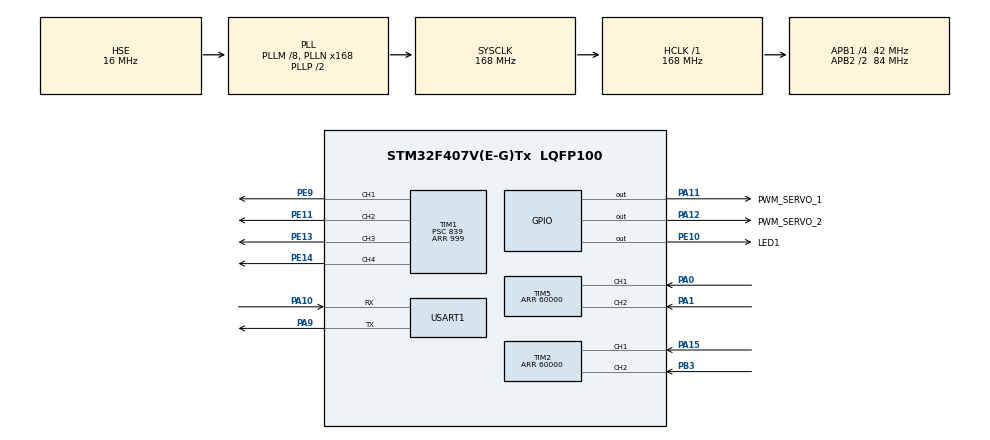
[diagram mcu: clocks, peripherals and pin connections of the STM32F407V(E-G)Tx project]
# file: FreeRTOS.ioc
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FREERTOS.MemoryAllocation=FREERTOS_DYNAMIC_ALLOC
FREERTOS.Tasks01=defaultTask,24,512,StartDefaultTask,Default,NULL,Dynamic,NULL,NULL;LED_Task,8,128,LED_Task_entry,As weak,NULL,Static,LED_TaskBuffer,LED_TaskControlBlock
FREERTOS.TotalHeapSize=30720
FREERTOS.configTOTAL_HEAP_SIZE=30720
Mcu.Family=STM32F4
Mcu.Name=STM32F407V(E-G)Tx
Mcu.Package=LQFP100
NVIC.PriorityGroup=NVIC_PRIORITYGROUP_4
NVIC.TIM2_IRQn=true\:6\:0\:true\:false\:true\:true\:true\:true\:true
NVIC.TIM5_IRQn=true\:6\:0\:true\:false\:true\:true\:true\:true\:true
NVIC.TIM7_IRQn=true\:6\:0\:true\:false\:true\:true\:true\:true\:true
NVIC.TIM8_TRG_COM_TIM14_IRQn=true\:15\:0\:false\:false\:true\:false\:false\:true\:true
NVIC.TIM8_UP_TIM13_IRQn=true\:6\:0\:true\:false\:true\:true\:true\:true\:true
NVIC.TimeBase=TIM8_TRG_COM_TIM14_IRQn
NVIC.TimeBaseIP=TIM14
NVIC.USART1_IRQn=true\:6\:0\:true\:false\:true\:true\:true\:true\:true
PA0-WKUP.GPIO_PuPd=GPIO_PULLUP
PA0-WKUP.GPIO_Speed=GPIO_SPEED_FREQ_VERY_HIGH
PA0-WKUP.Signal=S_TIM5_CH1
PA1.GPIO_PuPd=GPIO_PULLUP
PA1.GPIO_Speed=GPIO_SPEED_FREQ_VERY_HIGH
PA1.Signal=S_TIM5_CH2
PA10.Mode=Asynchronous
PA10.Signal=USART1_RX
PA11.GPIO_Label=PWM_SERVO_1
PA11.GPIO_Speed=GPIO_SPEED_FREQ_HIGH
PA11.Signal=GPIO_Output
PA12.GPIO_Label=PWM_SERVO_2
PA12.GPIO_Speed=GPIO_SPEED_FREQ_HIGH
PA12.Signal=GPIO_Output
PA13.Mode=Serial_Wire
PA13.Signal=SYS_JTMS-SWDIO
PA14.Mode=Serial_Wire
PA14.Signal=SYS_JTCK-SWCLK
PA15.GPIO_PuPd=GPIO_PULLUP
PA15.GPIO_Speed=GPIO_SPEED_FREQ_VERY_HIGH
PA15.Signal=S_TIM2_CH1_ETR
PA9.Mode=Asynchronous
PA9.Signal=USART1_TX
PB3.GPIO_PuPd=GPIO_PULLUP
PB3.GPIO_Speed=GPIO_SPEED_FREQ_VERY_HIGH
PB3.Signal=S_TIM2_CH2
PE10.GPIO_Label=LED1
PE10.GPIO_PuPd=GPIO_PULLUP
PE10.PinState=GPIO_PIN_SET
PE10.Signal=GPIO_Output
PE11.GPIO_Speed=GPIO_SPEED_FREQ_HIGH
PE11.Signal=S_TIM1_CH2
PE13.GPIO_Speed=GPIO_SPEED_FREQ_HIGH
PE13.Signal=S_TIM1_CH3
PE14.GPIO_Speed=GPIO_SPEED_FREQ_HIGH
PE14.Signal=S_TIM1_CH4
PE9.GPIO_Speed=GPIO_SPEED_FREQ_HIGH
PE9.Signal=S_TIM1_CH1
PH0-OSC_IN.Mode=HSE-External-Oscillator
PH0-OSC_IN.Signal=RCC_OSC_IN
PH1-OSC_OUT.Mode=HSE-External-Oscillator
PH1-OSC_OUT.Signal=RCC_OSC_OUT
ProjectManager.HeapSize=0x200
ProjectManager.StackSize=0x400
ProjectManager.TargetToolchain=MDK-ARM V5
RCC.48MHZClocksFreq_Value=84000000
RCC.AHBFreq_Value=168000000
RCC.APB1CLKDivider=RCC_HCLK_DIV4
RCC.APB1Freq_Value=42000000
RCC.APB1TimFreq_Value=84000000
RCC.APB2CLKDivider=RCC_HCLK_DIV2
RCC.APB2Freq_Value=84000000
RCC.APB2TimFreq_Value=168000000
RCC.CortexFreq_Value=168000000
RCC.EXTERNAL_CLOCK_VALUE=12288000
RCC.EnbaleCSS=true
RCC.HCLKFreq_Value=168000000
RCC.HSE_VALUE=16000000
RCC.HSI_VALUE=16000000
RCC.LSE_VALUE=32768
RCC.PLLM=8
RCC.PLLN=168
RCC.PLLSourceVirtual=RCC_PLLSOURCE_HSE
RCC.SYSCLKFreq_VALUE=168000000
RCC.SYSCLKSource=RCC_SYSCLKSOURCE_PLLCLK
RCC.VCOOutputFreq_Value=336000000
SH.S_TIM1_CH1.0=TIM1_CH1,PWM Generation1 CH1
SH.S_TIM1_CH2.0=TIM1_CH2,PWM Generation2 CH2
SH.S_TIM1_CH3.0=TIM1_CH3,PWM Generation3 CH3
SH.S_TIM1_CH4.0=TIM1_CH4,PWM Generation4 CH4
SH.S_TIM2_CH1_ETR.0=TIM2_CH1,Encoder_Interface
SH.S_TIM2_CH2.0=TIM2_CH2,Encoder_Interface
SH.S_TIM5_CH1.0=TIM5_CH1,Encoder_Interface
SH.S_TIM5_CH2.0=TIM5_CH2,Encoder_Interface
TIM1.AutoReloadPreload=TIM_AUTORELOAD_PRELOAD_ENABLE
TIM1.Channel-PWM\ Generation1\ CH1=TIM_CHANNEL_1
TIM1.Channel-PWM\ Generation2\ CH2=TIM_CHANNEL_2
TIM1.Channel-PWM\ Generation3\ CH3=TIM_CHANNEL_3
TIM1.Channel-PWM\ Generation4\ CH4=TIM_CHANNEL_4
TIM1.OCFastMode_PWM-PWM\ Generation1\ CH1=TIM_OCFAST_ENABLE
TIM1.OCFastMode_PWM-PWM\ Generation2\ CH2=TIM_OCFAST_ENABLE
TIM1.OCFastMode_PWM-PWM\ Generation3\ CH3=TIM_OCFAST_ENABLE
TIM1.OCFastMode_PWM-PWM\ Generation4\ CH4=TIM_OCFAST_ENABLE
TIM1.Period=999
TIM1.Prescaler=839
TIM13.AutoReloadPreload=TIM_AUTORELOAD_PRELOAD_DISABLE
TIM13.Period=839
TIM13.Prescaler=0
TIM2.AutoReloadPreload=TIM_AUTORELOAD_PRELOAD_ENABLE
TIM2.EncoderMode=TIM_ENCODERMODE_TI12
TIM2.Period=60000
TIM5.AutoReloadPreload=TIM_AUTORELOAD_PRELOAD_ENABLE
TIM5.EncoderMode=TIM_ENCODERMODE_TI12
TIM5.Period=60000
TIM7.AutoReloadPreload=TIM_AUTORELOAD_PRELOAD_ENABLE
TIM7.Period=9999
TIM7.Prescaler=83
USART1.VirtualMode=VM_ASYNC
VP_FREERTOS_VS_CMSIS_V2.Mode=CMSIS_V2
VP_SYS_VS_tim14.Mode=TIM14
VP_TIM13_VS_ClockSourceINT.Mode=Enable_Timer
VP_TIM1_VS_ClockSourceINT.Mode=Internal
VP_TIM7_VS_ClockSourceINT.Mode=Enable_Timer
board=custom

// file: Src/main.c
/* USER CODE BEGIN Header */
/**
  ******************************************************************************
  * @file           : main.c
  * @brief          : Main program body
  ******************************************************************************
  * @attention
  *
  * Copyright (c) 2023 STMicroelectronics.
  * All rights reserved.
  *
  * This software is licensed under terms that can be found in the LICENSE file
  * in the root directory of this software component.
  * If no LICENSE file comes with this software, it is provided AS-IS.
  *
  ******************************************************************************
  */
/* USER CODE END Header */
#include "main.h"
#include "cmsis_os.h"

/* USER CODE BEGIN Includes */
#include <stdio.h>
#include <string.h>
#include <stdlib.h>
#include <stdarg.h>
/* USER CODE END Includes */

typedef StaticTask_t osStaticThreadDef_t;

TIM_HandleTypeDef htim1;
TIM_HandleTypeDef htim2;
TIM_HandleTypeDef htim5;
TIM_HandleTypeDef htim7;
TIM_HandleTypeDef htim13;

UART_HandleTypeDef huart1;

/* Definitions for defaultTask */
osThreadId_t defaultTaskHandle;
const osThreadAttr_t defaultTask_attributes = {
  .name = "defaultTask",
  .stack_size = 512 * 4,
  .priority = (osPriority_t) osPriorityNormal,
};
/* Definitions for LED_Task */
osThreadId_t LED_TaskHandle;
uint32_t LED_TaskBuffer[ 128 ];
osStaticThreadDef_t LED_TaskControlBlock;
const osThreadAttr_t LED_Task_attributes = {
  .name = "LED_Task",
  .cb_mem = &LED_TaskControlBlock,
  .cb_size = sizeof(LED_TaskControlBlock),
  .stack_mem = &LED_TaskBuffer[0],
  .stack_size = sizeof(LED_TaskBuffer),
  .priority = (osPriority_t) osPriorityLow,
};

void SystemClock_Config(void);
static void MX_GPIO_Init(void);
static void MX_TIM1_Init(void);
static void MX_TIM2_Init(void);
static void MX_TIM5_Init(void);
static void MX_TIM7_Init(void);
static void MX_TIM13_Init(void);
static void MX_USART1_UART_Init(void);
void StartDefaultTask(void *argument);
void LED_Task_entry(void *argument);

/* USER CODE BEGIN 0 */

/* ===== 舵机软件PWM全局变量 ===== */
static volatile uint16_t servo_pulse[2] = {150, 150};  /* 舵机1/2 高电平脉宽(单位10μs), 默认90° */
static volatile uint16_t servo_tick = 0;               /* TIM13中断计数器 */

/* ===== 编码器速度变量 ===== */
static volatile int32_t encoder1_speed = 0;  /* 丝印M1速度(TIM5 PA0/PA1) */
static volatile int32_t encoder2_speed = 0;  /* 丝印M2速度(TIM2 PA15/PB3) */
static volatile int32_t encoder1_last = 0;   /* 上次计数值 */
static volatile int32_t encoder2_last = 0;

/* ===== 增量式PID结构体 ===== */
typedef struct {
  float  kp;           /* 比例系数 */
  float  ki;           /* 积分系数 */
  float  kd;           /* 微分系数 */
  float  target;       /* 目标速度(脉冲/10ms) */
  float  err;          /* 当前误差 */
  float  err_last;     /* 上次误差 */
  float  err_sum;      /* 误差积分 */
  float  out;          /* PID输出(PWM值) */
  float  out_max;      /* 输出上限 */
  float  i_limit;      /* 积分限幅 */
  float  deadband;     /* 死区: |error|小于此值时忽略, 防振荡 */
  float  ramp;         /* 输出变化率限制(每周期最大增量, 0=不限) */
  uint8_t enabled;     /* 1=PID使能, 0=开环模式 */
} PID_t;

static void uart_printf(const char *fmt, ...);

static void PID_Reset(PID_t *pid)
{
  pid->err_sum  = 0.0f;
  pid->err_last = 0.0f;
  pid->err      = 0.0f;
}

static void PID_Report(uint8_t id, PID_t *pid)
{
  uart_printf("PID%d: kp=%.3f ki=%.3f kd=%.3f target=%.1f out=%.1f "
              "omax=%.0f ilim=%.0f db=%.1f ramp=%.1f en=%d\r\n",
              id, (double)pid->kp, (double)pid->ki, (double)pid->kd,
              (double)pid->target, (double)pid->out,
              (double)pid->out_max, (double)pid->i_limit,
              (double)pid->deadband, (double)pid->ramp, pid->enabled);
}

/* 两个电机的PID实例 */
static PID_t pid1 = {
  .kp = 8.0f, .ki = 1.5f, .kd = 1.0f,
  .out_max = 999.0f, .i_limit = 300.0f,
  .deadband = 0.0f, .ramp = 0.0f,
  .enabled = 0
};
static PID_t pid2 = {
  .kp = 8.0f, .ki = 1.5f, .kd = 1.0f,
  .out_max = 999.0f, .i_limit = 300.0f,
  .deadband = 0.0f, .ramp = 0.0f,
  .enabled = 0
};

/* ===== 增量式PID计算 ===== */
/* 每10ms在TIM7中断里调用一次, actual为编码器测速值 */
static float PID_Calc(PID_t *pid, float actual)
{
  if (!pid->enabled) return pid->out;

  pid->err = pid->target - actual;

  /* 死区: 忽略小误差, 防止负载下震荡 */
  if (pid->deadband > 0.0f)
  {
    if (pid->err > -pid->deadband && pid->err < pid->deadband)
      pid->err = 0.0f;
  }

  /* 积分抗饱和: 仅在误差较显著时累加; 积分限幅 */
  if (pid->err > 0.001f || pid->err < -0.001f)
    pid->err_sum += pid->err;
  if (pid->err_sum >  pid->i_limit) pid->err_sum =  pid->i_limit;
  if (pid->err_sum < -pid->i_limit) pid->err_sum = -pid->i_limit;

  /* PID输出 */
  float output = pid->kp * pid->err
               + pid->ki * pid->err_sum
               + pid->kd * (pid->err - pid->err_last);

  /* 输出变化率限制(防突变, 保护驱动和机械) */
  if (pid->ramp > 0.0f)
  {
    float delta = output - pid->out;
    if (delta >  pid->ramp) output = pid->out + pid->ramp;
    if (delta < -pid->ramp) output = pid->out - pid->ramp;
  }

  /* 输出限幅 */
  if (output >  pid->out_max) output =  pid->out_max;
  if (output < -pid->out_max) output = -pid->out_max;

  pid->err_last = pid->err;
  pid->out = output;
  return output;
}

/* ===== 设置PID目标速度(带符号, 正/负代表方向) ===== */
static void PID_SetTarget(PID_t *pid, float target)
{
  pid->target  = target;
  pid->err     = 0.0f;
  pid->err_last = 0.0f;
  pid->err_sum  = 0.0f;
  pid->out      = 0.0f;
  pid->enabled  = (target != 0.0f) ? 1 : 0;
}

/* ===== 串口接收缓冲 ===== */
static uint8_t uart_rx_byte = 0;

/* ===== 轻量串口格式化输出（替代 printf，避免栈溢出） ===== */
static void uart_printf(const char *fmt, ...)
{
  char buf[80];
  va_list ap;
  va_start(ap, fmt);
  vsnprintf(buf, sizeof(buf), fmt, ap);
  va_end(ap);
  HAL_UART_Transmit(&huart1, (uint8_t *)buf, strlen(buf), HAL_MAX_DELAY);
}

/* ===== 舵机控制 ===== */
void Servo_SetAngle(uint8_t servo_id, float angle)
{
  if (servo_id > 1) return;
  if (angle < 0) angle = 0;
  if (angle > 180) angle = 180;
  /* 角度 → 脉宽: 0°=50, 180°=250, 线性映射 */
  servo_pulse[servo_id] = (uint16_t)(SERVO_PULSE_MIN + (angle / 180.0f) * (SERVO_PULSE_MAX - SERVO_PULSE_MIN));
}

/* ===== 电机控制 ===== */
void Motor_SetSpeed(uint8_t motor_id, int16_t speed)
{
  if (speed > MOTOR_PWM_MAX) speed = MOTOR_PWM_MAX;
  if (speed < -MOTOR_PWM_MAX) speed = -MOTOR_PWM_MAX;

  if (motor_id == 0)  /* 电机1(丝印M1): CH3正转, CH4反转, PE13/PE14 */
  {
    if (speed >= 0)
    {
      __HAL_TIM_SET_COMPARE(&htim1, TIM_CHANNEL_3, (uint32_t)speed);
      __HAL_TIM_SET_COMPARE(&htim1, TIM_CHANNEL_4, 0);
    }
    else
    {
      __HAL_TIM_SET_COMPARE(&htim1, TIM_CHANNEL_3, 0);
      __HAL_TIM_SET_COMPARE(&htim1, TIM_CHANNEL_4, (uint32_t)(-speed));
    }
  }
  else if (motor_id == 1)  /* 电机2(丝印M2): CH2正转, CH1反转, PE11/PE9 (右轮方向已校准) */
  {
    if (speed >= 0)
    {
      __HAL_TIM_SET_COMPARE(&htim1, TIM_CHANNEL_2, (uint32_t)speed);
      __HAL_TIM_SET_COMPARE(&htim1, TIM_CHANNEL_1, 0);
    }
    else
    {
      __HAL_TIM_SET_COMPARE(&htim1, TIM_CHANNEL_2, 0);
      __HAL_TIM_SET_COMPARE(&htim1, TIM_CHANNEL_1, (uint32_t)(-speed));
    }
  }
}

/* ===== TIM13 软件PWM中断回调 (10μs周期, Update溢出中断) ===== */
void HAL_TIM_PeriodElapsedCallback_TIM13(TIM_HandleTypeDef *htim)
{
  if (htim->Instance != TIM13) return;

  servo_tick++;

  if (servo_tick == 1)
  {
    /* 周期开始: 拉高两个舵机 */
    HAL_GPIO_WritePin(PWM_SERVO_1_GPIO_Port, PWM_SERVO_1_Pin, GPIO_PIN_SET);
    HAL_GPIO_WritePin(PWM_SERVO_2_GPIO_Port, PWM_SERVO_2_Pin, GPIO_PIN_SET);
  }

  if (servo_tick == servo_pulse[0])
  {
    /* 舵机1脉宽到达, 拉低 */
    HAL_GPIO_WritePin(PWM_SERVO_1_GPIO_Port, PWM_SERVO_1_Pin, GPIO_PIN_RESET);
  }

  if (servo_tick == servo_pulse[1])
  {
    /* 舵机2脉宽到达, 拉低 */
    HAL_GPIO_WritePin(PWM_SERVO_2_GPIO_Port, PWM_SERVO_2_Pin, GPIO_PIN_RESET);
  }

  if (servo_tick >= SERVO_PERIOD)
  {
    /* 20ms周期结束, 重启 */
    servo_tick = 0;
  }
}

/* ===== TIM7 10ms测速中断回调 ===== */
void HAL_TIM_PeriodElapsedCallback_TIM7(TIM_HandleTypeDef *htim)
{
  if (htim->Instance != TIM7) return;

  /* 丝印M1→编码器TIM5(PA0/PA1), 丝印M2→编码器TIM2(PA15/PB3) */
  int32_t cur1 = (int32_t)__HAL_TIM_GET_COUNTER(&htim5);
  int32_t cur2 = (int32_t)__HAL_TIM_GET_COUNTER(&htim2);

  encoder1_speed = cur1 - encoder1_last;
  encoder2_speed = cur2 - encoder2_last;

  /* 处理溢出: Period=60000, 如果差值超过一半说明溢出 */
  if (encoder1_speed > 30000)  encoder1_speed -= 60001;
  if (encoder1_speed < -30000) encoder1_speed += 60001;
  if (encoder2_speed > 30000)  encoder2_speed -= 60001;
  if (encoder2_speed < -30000) encoder2_speed += 60001;

  /* 右轮(Motor2)方向校准: 取反使正速度=前进 */
  encoder2_speed = -encoder2_speed;

  encoder1_last = cur1;
  encoder2_last = cur2;

  /* ===== PID闭环控制 ===== */
  if (pid1.enabled)
  {
    float pwm1 = PID_Calc(&pid1, (float)encoder1_speed);
    Motor_SetSpeed(0, (int16_t)pwm1);
  }
  if (pid2.enabled)
  {
    float pwm2 = PID_Calc(&pid2, (float)encoder2_speed);
    Motor_SetSpeed(1, (int16_t)pwm2);
  }
}

/* USER CODE END 0 */

int main(void)
{

  /* MCU Configuration--------------------------------------------------------*/

  /* Reset of all peripherals, Initializes the Flash interface and the Systick. */
  HAL_Init();

  /* Configure the system clock */
  SystemClock_Config();

  /* Initialize all configured peripherals */
  MX_GPIO_Init();
  MX_TIM1_Init();
  MX_TIM2_Init();
  MX_TIM5_Init();
  MX_TIM7_Init();
  MX_TIM13_Init();
  MX_USART1_UART_Init();
  /* USER CODE BEGIN 2 */

  /* === 启动串口中断接收 === */
  HAL_UART_Receive_IT(&huart1, &uart_rx_byte, 1);

  /* === 启动电机 PWM === */
  HAL_TIM_PWM_Start(&htim1, TIM_CHANNEL_1);
  HAL_TIM_PWM_Start(&htim1, TIM_CHANNEL_2);
  HAL_TIM_PWM_Start(&htim1, TIM_CHANNEL_3);
  HAL_TIM_PWM_Start(&htim1, TIM_CHANNEL_4);
  __HAL_TIM_MOE_ENABLE(&htim1);  /* TIM1是高级定时器,必须使能MOE才能输出PWM */

  /* === 启动编码器 === */
  HAL_TIM_Encoder_Start(&htim2, TIM_CHANNEL_1 | TIM_CHANNEL_2);
  HAL_TIM_Encoder_Start(&htim5, TIM_CHANNEL_1 | TIM_CHANNEL_2);
  __HAL_TIM_SET_COUNTER(&htim2, 30000);
  __HAL_TIM_SET_COUNTER(&htim5, 30000);
  encoder1_last = 30000;
  encoder2_last = 30000;

  /* === 启动测速中断 (10ms) === */
  HAL_TIM_Base_Start_IT(&htim7);

  /* === 启动舵机软件PWM中断 (10μs) === */
  /* 必须在启动前重新配置 TIM13 寄存器，因为 MX_TIM13_Init 里的
   * __HAL_TIM_SET_PRESCALER / __HAL_TIM_SET_AUTORELOAD 可能被
   * HAL_TIM_Base_Start_IT 内部的 __HAL_TIM_ENABLE 覆盖回 .ioc 的值 */
  __HAL_TIM_DISABLE(&htim13);
  htim13.Instance->PSC = 0;    /* PSC=0, 84MHz 不分频 */
  htim13.Instance->ARR = 839;  /* ARR=839, 84MHz/840 = 100kHz = 10μs */
  htim13.Instance->CNT = 0;    /* 清零计数器 */
  __HAL_TIM_CLEAR_FLAG(&htim13, TIM_FLAG_UPDATE);  /* 清除挂起的更新标志 */
  HAL_TIM_Base_Start_IT(&htim13);

  /* === 舵机/电机初始化 === */
  Servo_SetAngle(0, 90.0f);
  Servo_SetAngle(1, 90.0f);
  Motor_SetSpeed(0, 0);
  Motor_SetSpeed(1, 0);

  /* USER CODE END 2 */

  /* Init scheduler */
  osKernelInitialize();

  /* Create the thread(s) */
  /* creation of defaultTask */
  defaultTaskHandle = osThreadNew(StartDefaultTask, NULL, &defaultTask_attributes);

  /* creation of LED_Task */
  LED_TaskHandle = osThreadNew(LED_Task_entry, NULL, &LED_Task_attributes);

  /* Start scheduler */
  osKernelStart();

  /* We should never get here as control is now taken by the scheduler */

  /* Infinite loop */
  while (1)
  {

  }
}

void SystemClock_Config(void)
{
  RCC_OscInitTypeDef RCC_OscInitStruct = {0};
  RCC_ClkInitTypeDef RCC_ClkInitStruct = {0};

  /** Configure the main internal regulator output voltage
  */
  __HAL_RCC_PWR_CLK_ENABLE();
  __HAL_PWR_VOLTAGESCALING_CONFIG(PWR_REGULATOR_VOLTAGE_SCALE1);

  /** Initializes the RCC Oscillators according to the specified parameters
  * in the RCC_OscInitTypeDef structure.
  */
  RCC_OscInitStruct.OscillatorType = RCC_OSCILLATORTYPE_HSE;
  RCC_OscInitStruct.HSEState = RCC_HSE_ON;
  RCC_OscInitStruct.PLL.PLLState = RCC_PLL_ON;
  RCC_OscInitStruct.PLL.PLLSource = RCC_PLLSOURCE_HSE;
  RCC_OscInitStruct.PLL.PLLM = 8;
  RCC_OscInitStruct.PLL.PLLN = 168;
  RCC_OscInitStruct.PLL.PLLP = RCC_PLLP_DIV2;
  RCC_OscInitStruct.PLL.PLLQ = 4;
  if (HAL_RCC_OscConfig(&RCC_OscInitStruct) != HAL_OK)
  {
    Error_Handler();
  }

  /** Initializes the CPU, AHB and APB buses clocks
  */
  RCC_ClkInitStruct.ClockType = RCC_CLOCKTYPE_HCLK|RCC_CLOCKTYPE_SYSCLK
                              |RCC_CLOCKTYPE_PCLK1|RCC_CLOCKTYPE_PCLK2;
  RCC_ClkInitStruct.SYSCLKSource = RCC_SYSCLKSOURCE_PLLCLK;
  RCC_ClkInitStruct.AHBCLKDivider = RCC_SYSCLK_DIV1;
  RCC_ClkInitStruct.APB1CLKDivider = RCC_HCLK_DIV4;
  RCC_ClkInitStruct.APB2CLKDivider = RCC_HCLK_DIV2;

  if (HAL_RCC_ClockConfig(&RCC_ClkInitStruct, FLASH_LATENCY_5) != HAL_OK)
  {
    Error_Handler();
  }

  /** Enables the Clock Security System
  */
  HAL_RCC_EnableCSS();
}

static void MX_TIM1_Init(void)
{

  TIM_ClockConfigTypeDef sClockSourceConfig = {0};
  TIM_MasterConfigTypeDef sMasterConfig = {0};
  TIM_OC_InitTypeDef sConfigOC = {0};
  TIM_BreakDeadTimeConfigTypeDef sBreakDeadTimeConfig = {0};

  htim1.Instance = TIM1;
  htim1.Init.Prescaler = 839;
  htim1.Init.CounterMode = TIM_COUNTERMODE_UP;
  htim1.Init.Period = 999;
  htim1.Init.ClockDivision = TIM_CLOCKDIVISION_DIV1;
  htim1.Init.RepetitionCounter = 0;
  htim1.Init.AutoReloadPreload = TIM_AUTORELOAD_PRELOAD_ENABLE;
  if (HAL_TIM_Base_Init(&htim1) != HAL_OK)
  {
    Error_Handler();
  }
  sClockSourceConfig.ClockSource = TIM_CLOCKSOURCE_INTERNAL;
  if (HAL_TIM_ConfigClockSource(&htim1, &sClockSourceConfig) != HAL_OK)
  {
    Error_Handler();
  }
  if (HAL_TIM_PWM_Init(&htim1) != HAL_OK)
  {
    Error_Handler();
  }
  sMasterConfig.MasterOutputTrigger = TIM_TRGO_RESET;
  sMasterConfig.MasterSlaveMode = TIM_MASTERSLAVEMODE_DISABLE;
  if (HAL_TIMEx_MasterConfigSynchronization(&htim1, &sMasterConfig) != HAL_OK)
  {
    Error_Handler();
  }
  sConfigOC.OCMode = TIM_OCMODE_PWM1;
  sConfigOC.Pulse = 0;
  sConfigOC.OCPolarity = TIM_OCPOLARITY_HIGH;
  sConfigOC.OCNPolarity = TIM_OCNPOLARITY_HIGH;
  sConfigOC.OCFastMode = TIM_OCFAST_ENABLE;
  sConfigOC.OCIdleState = TIM_OCIDLESTATE_RESET;
  sConfigOC.OCNIdleState = TIM_OCNIDLESTATE_RESET;
  if (HAL_TIM_PWM_ConfigChannel(&htim1, &sConfigOC, TIM_CHANNEL_1) != HAL_OK)
  {
    Error_Handler();
  }
  if (HAL_TIM_PWM_ConfigChannel(&htim1, &sConfigOC, TIM_CHANNEL_2) != HAL_OK)
  {
    Error_Handler();
  }
  if (HAL_TIM_PWM_ConfigChannel(&htim1, &sConfigOC, TIM_CHANNEL_3) != HAL_OK)
  {
    Error_Handler();
  }
  if (HAL_TIM_PWM_ConfigChannel(&htim1, &sConfigOC, TIM_CHANNEL_4) != HAL_OK)
  {
    Error_Handler();
  }
  sBreakDeadTimeConfig.OffStateRunMode = TIM_OSSR_DISABLE;
  sBreakDeadTimeConfig.OffStateIDLEMode = TIM_OSSI_DISABLE;
  sBreakDeadTimeConfig.LockLevel = TIM_LOCKLEVEL_OFF;
  sBreakDeadTimeConfig.DeadTime = 0;
  sBreakDeadTimeConfig.BreakState = TIM_BREAK_DISABLE;
  sBreakDeadTimeConfig.BreakPolarity = TIM_BREAKPOLARITY_HIGH;
  sBreakDeadTimeConfig.AutomaticOutput = TIM_AUTOMATICOUTPUT_DISABLE;
  if (HAL_TIMEx_ConfigBreakDeadTime(&htim1, &sBreakDeadTimeConfig) != HAL_OK)
  {
    Error_Handler();
  }
  HAL_TIM_MspPostInit(&htim1);

}

static void MX_TIM2_Init(void)
{

  TIM_Encoder_InitTypeDef sConfig = {0};
  TIM_MasterConfigTypeDef sMasterConfig = {0};

  htim2.Instance = TIM2;
  htim2.Init.Prescaler = 0;
  htim2.Init.CounterMode = TIM_COUNTERMODE_UP;
  htim2.Init.Period = 60000;
  htim2.Init.ClockDivision = TIM_CLOCKDIVISION_DIV1;
  htim2.Init.AutoReloadPreload = TIM_AUTORELOAD_PRELOAD_ENABLE;
  sConfig.EncoderMode = TIM_ENCODERMODE_TI12;
  sConfig.IC1Polarity = TIM_ICPOLARITY_RISING;
  sConfig.IC1Selection = TIM_ICSELECTION_DIRECTTI;
  sConfig.IC1Prescaler = TIM_ICPSC_DIV1;
  sConfig.IC1Filter = 0;
  sConfig.IC2Polarity = TIM_ICPOLARITY_RISING;
  sConfig.IC2Selection = TIM_ICSELECTION_DIRECTTI;
  sConfig.IC2Prescaler = TIM_ICPSC_DIV1;
  sConfig.IC2Filter = 0;
  if (HAL_TIM_Encoder_Init(&htim2, &sConfig) != HAL_OK)
  {
    Error_Handler();
  }
  sMasterConfig.MasterOutputTrigger = TIM_TRGO_RESET;
  sMasterConfig.MasterSlaveMode = TIM_MASTERSLAVEMODE_DISABLE;
  if (HAL_TIMEx_MasterConfigSynchronization(&htim2, &sMasterConfig) != HAL_OK)
  {
    Error_Handler();
  }

}

static void MX_TIM5_Init(void)
{

  TIM_Encoder_InitTypeDef sConfig = {0};
  TIM_MasterConfigTypeDef sMasterConfig = {0};

  htim5.Instance = TIM5;
  htim5.Init.Prescaler = 0;
  htim5.Init.CounterMode = TIM_COUNTERMODE_UP;
  htim5.Init.Period = 60000;
  htim5.Init.ClockDivision = TIM_CLOCKDIVISION_DIV1;
  htim5.Init.AutoReloadPreload = TIM_AUTORELOAD_PRELOAD_ENABLE;
  sConfig.EncoderMode = TIM_ENCODERMODE_TI12;
  sConfig.IC1Polarity = TIM_ICPOLARITY_RISING;
  sConfig.IC1Selection = TIM_ICSELECTION_DIRECTTI;
  sConfig.IC1Prescaler = TIM_ICPSC_DIV1;
  sConfig.IC1Filter = 0;
  sConfig.IC2Polarity = TIM_ICPOLARITY_RISING;
  sConfig.IC2Selection = TIM_ICSELECTION_DIRECTTI;
  sConfig.IC2Prescaler = TIM_ICPSC_DIV1;
  sConfig.IC2Filter = 0;
  if (HAL_TIM_Encoder_Init(&htim5, &sConfig) != HAL_OK)
  {
    Error_Handler();
  }
  sMasterConfig.MasterOutputTrigger = TIM_TRGO_RESET;
  sMasterConfig.MasterSlaveMode = TIM_MASTERSLAVEMODE_DISABLE;
  if (HAL_TIMEx_MasterConfigSynchronization(&htim5, &sMasterConfig) != HAL_OK)
  {
    Error_Handler();
  }

}

static void MX_TIM7_Init(void)
{

  TIM_MasterConfigTypeDef sMasterConfig = {0};

  htim7.Instance = TIM7;
  htim7.Init.Prescaler = 83;
  htim7.Init.CounterMode = TIM_COUNTERMODE_UP;
  htim7.Init.Period = 9999;
  htim7.Init.AutoReloadPreload = TIM_AUTORELOAD_PRELOAD_ENABLE;
  if (HAL_TIM_Base_Init(&htim7) != HAL_OK)
  {
    Error_Handler();
  }
  sMasterConfig.MasterOutputTrigger = TIM_TRGO_RESET;
  sMasterConfig.MasterSlaveMode = TIM_MASTERSLAVEMODE_DISABLE;
  if (HAL_TIMEx_MasterConfigSynchronization(&htim7, &sMasterConfig) != HAL_OK)
  {
    Error_Handler();
  }

}

static void MX_TIM13_Init(void)
{

  htim13.Instance = TIM13;
  htim13.Init.Prescaler = 0;
  htim13.Init.CounterMode = TIM_COUNTERMODE_UP;
  htim13.Init.Period = 839;
  htim13.Init.ClockDivision = TIM_CLOCKDIVISION_DIV1;
  htim13.Init.AutoReloadPreload = TIM_AUTORELOAD_PRELOAD_DISABLE;
  if (HAL_TIM_Base_Init(&htim13) != HAL_OK)
  {
    Error_Handler();
  }

}

static void MX_USART1_UART_Init(void)
{

  huart1.Instance = USART1;
  huart1.Init.BaudRate = 115200;
  huart1.Init.WordLength = UART_WORDLENGTH_8B;
  huart1.Init.StopBits = UART_STOPBITS_1;
  huart1.Init.Parity = UART_PARITY_NONE;
  huart1.Init.Mode = UART_MODE_TX_RX;
  huart1.Init.HwFlowCtl = UART_HWCONTROL_NONE;
  huart1.Init.OverSampling = UART_OVERSAMPLING_16;
  if (HAL_UART_Init(&huart1) != HAL_OK)
  {
    Error_Handler();
  }

}

static void MX_GPIO_Init(void)
{
  GPIO_InitTypeDef GPIO_InitStruct = {0};

  /* GPIO Ports Clock Enable */
  __HAL_RCC_GPIOH_CLK_ENABLE();
  __HAL_RCC_GPIOA_CLK_ENABLE();
  __HAL_RCC_GPIOE_CLK_ENABLE();
  __HAL_RCC_GPIOB_CLK_ENABLE();

  /*Configure GPIO pin Output Level */
  HAL_GPIO_WritePin(LED1_GPIO_Port, LED1_Pin, GPIO_PIN_SET);

  /*Configure GPIO pin Output Level */
  HAL_GPIO_WritePin(GPIOA, PWM_SERVO_1_Pin|PWM_SERVO_2_Pin, GPIO_PIN_RESET);

  /*Configure GPIO pin : LED1_Pin */
  GPIO_InitStruct.Pin = LED1_Pin;
  GPIO_InitStruct.Mode = GPIO_MODE_OUTPUT_PP;
  GPIO_InitStruct.Pull = GPIO_PULLUP;
  GPIO_InitStruct.Speed = GPIO_SPEED_FREQ_LOW;
  HAL_GPIO_Init(LED1_GPIO_Port, &GPIO_InitStruct);

  /*Configure GPIO pins : PWM_SERVO_1_Pin PWM_SERVO_2_Pin */
  GPIO_InitStruct.Pin = PWM_SERVO_1_Pin|PWM_SERVO_2_Pin;
  GPIO_InitStruct.Mode = GPIO_MODE_OUTPUT_PP;
  GPIO_InitStruct.Pull = GPIO_NOPULL;
  GPIO_InitStruct.Speed = GPIO_SPEED_FREQ_HIGH;
  HAL_GPIO_Init(GPIOA, &GPIO_InitStruct);

}

/* USER CODE BEGIN 4 */

/* ===== 串口接收完成回调 ===== */
void HAL_UART_RxCpltCallback(UART_HandleTypeDef *huart)
{
  if (huart->Instance != USART1) return;

  static char cmd_buf[32];
  static uint8_t cmd_idx = 0;

  /* 忽略换行符，只用作指令结束标记 */
  if (uart_rx_byte == '\r' || uart_rx_byte == '\n')
  {
    if (cmd_idx > 0)
    {
      cmd_buf[cmd_idx] = '\0';

      /* 指令集: S1/S2=舵机角度 M1/M2=开环PWM V1/V2=PID速度目标
       * KP/KI/KD=全局PID增益 KP1..RAMP2=单电机PID参数
       * RP1/RP2=读回PID参数 RST1/RST2=复位积分
       * 支持 = 或 : 分隔符 */
      char *sep = strchr(cmd_buf, '=');
      if (!sep) sep = strchr(cmd_buf, ':');

      if (sep) *sep = '\0';  /* 分割: cmd_buf=指令名, sep+1=参数 */

      /* ---- 无参命令: RP1/RP2/RST1/RST2 (带不带分隔符都生效) ---- */
      if (strcmp(cmd_buf, "RP1") == 0)
      {
        PID_Report(1, &pid1);
      }
      else if (strcmp(cmd_buf, "RP2") == 0)
      {
        PID_Report(2, &pid2);
      }
      else if (strcmp(cmd_buf, "RST1") == 0)
      {
        PID_Reset(&pid1);
        uart_printf("PID1 integral reset\r\n");
      }
      else if (strcmp(cmd_buf, "RST2") == 0)
      {
        PID_Reset(&pid2);
        uart_printf("PID2 integral reset\r\n");
      }
      /* ---- 有参命令: 必须有分隔符 ---- */
      else if (sep)
      {
        if (strcmp(cmd_buf, "S1") == 0)
        {
          float angle = atof(sep + 1);
          Servo_SetAngle(0, angle);
          uart_printf("Servo1 -> %.1f deg\r\n", angle);
        }
        else if (strcmp(cmd_buf, "S2") == 0)
        {
          float angle = atof(sep + 1);
          Servo_SetAngle(1, angle);
          uart_printf("Servo2 -> %.1f deg\r\n", angle);
        }
        else if (strcmp(cmd_buf, "M1") == 0)
        {
          int16_t speed = (int16_t)atoi(sep + 1);
          pid1.enabled = 0;          /* 切换到开环模式 */
          Motor_SetSpeed(0, speed);
          uart_printf("Motor1 -> %d\r\n", speed);
        }
        else if (strcmp(cmd_buf, "M2") == 0)
        {
          int16_t speed = (int16_t)atoi(sep + 1);
          pid2.enabled = 0;          /* 切换到开环模式 */
          Motor_SetSpeed(1, speed);
          uart_printf("Motor2 -> %d\r\n", speed);
        }
        /* ---- 速度闭环(V1/V2) ---- */
        else if (strcmp(cmd_buf, "V1") == 0)
        {
          float target = atof(sep + 1);
          PID_SetTarget(&pid1, target);
          if (target == 0.0f) Motor_SetSpeed(0, 0);
        }
        else if (strcmp(cmd_buf, "V2") == 0)
        {
          float target = atof(sep + 1);
          PID_SetTarget(&pid2, target);
          if (target == 0.0f) Motor_SetSpeed(1, 0);
        }
        /* ---- 全局PID参数(KP/KI/KD) 同时设置两电机 ---- */
        else if (strcmp(cmd_buf, "KP") == 0)
        {
          float v = atof(sep + 1);
          pid1.kp = pid2.kp = v;
          uart_printf("kp=%.3f\r\n", (double)v);
        }
        else if (strcmp(cmd_buf, "KI") == 0)
        {
          float v = atof(sep + 1);
          pid1.ki = pid2.ki = v;
          uart_printf("ki=%.3f\r\n", (double)v);
        }
        else if (strcmp(cmd_buf, "KD") == 0)
        {
          float v = atof(sep + 1);
          pid1.kd = pid2.kd = v;
          uart_printf("kd=%.3f\r\n", (double)v);
        }
        /* ---- 电机1独立PID参数 ---- */
        else if (strcmp(cmd_buf, "KP1") == 0)
        {
          pid1.kp = atof(sep + 1);
          uart_printf("kp1=%.3f\r\n", (double)pid1.kp);
        }
        else if (strcmp(cmd_buf, "KI1") == 0)
        {
          pid1.ki = atof(sep + 1);
          uart_printf("ki1=%.3f\r\n", (double)pid1.ki);
        }
        else if (strcmp(cmd_buf, "KD1") == 0)
        {
          pid1.kd = atof(sep + 1);
          uart_printf("kd1=%.3f\r\n", (double)pid1.kd);
        }
        else if (strcmp(cmd_buf, "IMAX1") == 0)
        {
          pid1.i_limit = atof(sep + 1);
          uart_printf("ilim1=%.1f\r\n", (double)pid1.i_limit);
        }
        else if (strcmp(cmd_buf, "OMAX1") == 0)
        {
          pid1.out_max = atof(sep + 1);
          uart_printf("omax1=%.1f\r\n", (double)pid1.out_max);
        }
        else if (strcmp(cmd_buf, "DB1") == 0)
        {
          pid1.deadband = atof(sep + 1);
          uart_printf("db1=%.1f\r\n", (double)pid1.deadband);
        }
        else if (strcmp(cmd_buf, "RAMP1") == 0)
        {
          pid1.ramp = atof(sep + 1);
          uart_printf("ramp1=%.1f\r\n", (double)pid1.ramp);
        }
        /* ---- 电机2独立PID参数 ---- */
        else if (strcmp(cmd_buf, "KP2") == 0)
        {
          pid2.kp = atof(sep + 1);
          uart_printf("kp2=%.3f\r\n", (double)pid2.kp);
        }
        else if (strcmp(cmd_buf, "KI2") == 0)
        {
          pid2.ki = atof(sep + 1);
          uart_printf("ki2=%.3f\r\n", (double)pid2.ki);
        }
        else if (strcmp(cmd_buf, "KD2") == 0)
        {
          pid2.kd = atof(sep + 1);
          uart_printf("kd2=%.3f\r\n", (double)pid2.kd);
        }
        else if (strcmp(cmd_buf, "IMAX2") == 0)
        {
          pid2.i_limit = atof(sep + 1);
          uart_printf("ilim2=%.1f\r\n", (double)pid2.i_limit);
        }
        else if (strcmp(cmd_buf, "OMAX2") == 0)
        {
          pid2.out_max = atof(sep + 1);
          uart_printf("omax2=%.1f\r\n", (double)pid2.out_max);
        }
        else if (strcmp(cmd_buf, "DB2") == 0)
        {
          pid2.deadband = atof(sep + 1);
          uart_printf("db2=%.1f\r\n", (double)pid2.deadband);
        }
        else if (strcmp(cmd_buf, "RAMP2") == 0)
        {
          pid2.ramp = atof(sep + 1);
          uart_printf("ramp2=%.1f\r\n", (double)pid2.ramp);
        }
        else
        {
          uart_printf("Unknown cmd: %s\r\n", cmd_buf);
        }
      }
      else
      {
        uart_printf("Bad fmt: %s (use S1=90)\r\n", cmd_buf);
      }
      cmd_idx = 0;
    }
  }
  else
  {
    if (cmd_idx < sizeof(cmd_buf) - 1)
      cmd_buf[cmd_idx++] = uart_rx_byte;
    else
      cmd_idx = 0;  /* 溢出重置 */
  }

  /* 重新开启接收 */
  HAL_UART_Receive_IT(&huart1, &uart_rx_byte, 1);
}

/* USER CODE END 4 */

void StartDefaultTask(void *argument)
{
  /* USER CODE BEGIN 5 */
  uart_printf("Family Bot Ready!\r\n");

  /* Infinite loop */
  for(;;)
  {
    /* 打印速度和PID状态 */
    /* 格式: E1=实际速度 T1=目标速度 E2=实际速度 T2=目标速度 */
    uart_printf("E1=%ld T1=%.0f | E2=%ld T2=%.0f\r\n",
                (long)encoder1_speed, pid1.target,
                (long)encoder2_speed, pid2.target);
    osDelay(500);
  }
  /* USER CODE END 5 */
}

__weak void LED_Task_entry(void *argument)
{
  /* USER CODE BEGIN LED_Task_entry */
  /* Infinite loop */
  for(;;)
  {
	  HAL_GPIO_WritePin(LED1_GPIO_Port, LED1_Pin, GPIO_PIN_SET);
	  osDelay(1000);
	  HAL_GPIO_WritePin(LED1_GPIO_Port, LED1_Pin, GPIO_PIN_RESET);
	  osDelay(500);
  }
  /* USER CODE END LED_Task_entry */
}

void HAL_TIM_PeriodElapsedCallback(TIM_HandleTypeDef *htim)
{
  if (htim->Instance == TIM14) {
    HAL_IncTick();
  }
  /* USER CODE BEGIN Callback 1 */
  if (htim->Instance == TIM7) {
    HAL_TIM_PeriodElapsedCallback_TIM7(htim);
  }
  else if (htim->Instance == TIM13) {
    HAL_TIM_PeriodElapsedCallback_TIM13(htim);
  }
  /* USER CODE END Callback 1 */
}

void Error_Handler(void)
{
  __disable_irq();
  while (1)
  {
  }
}
